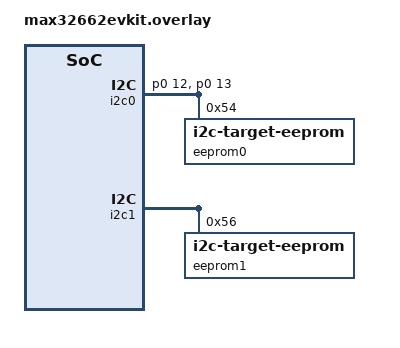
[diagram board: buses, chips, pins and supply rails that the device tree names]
/*
 * Copyright (c) 2024 Analog Devices, Inc.
 *
 * SPDX-License-Identifier: Apache-2.0
 */

&i2c0 {
	status = "okay";
	pinctrl-0 = <&i2c0a_scl_p0_12 &i2c0a_sda_p0_13>;
	pinctrl-names = "default";

	eeprom0: eeprom@54 {
		compatible = "zephyr,i2c-target-eeprom";
		reg = <0x54>;
		size = <256>;
	};
};

&i2c1 {
	dmas = <&dma0 1 MAX32_DMA_SLOT_I2C1_TX>, <&dma0 2 MAX32_DMA_SLOT_I2C1_RX>;
	dma-names = "tx", "rx";

	eeprom1: eeprom@56 {
		compatible = "zephyr,i2c-target-eeprom";
		reg = <0x56>;
		size = <256>;
	};
};
